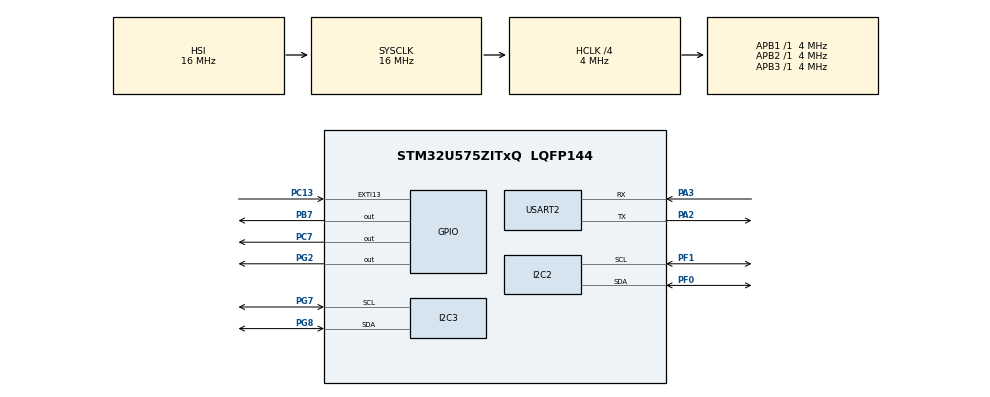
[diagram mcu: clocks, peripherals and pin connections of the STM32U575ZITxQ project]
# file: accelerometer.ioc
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CORTEX_M33_NS.userName=CORTEX_M33
I2C2.Timing=0x00303D5B
I2C3.Timing=0x00000E14
Mcu.Family=STM32U5
Mcu.Name=STM32U575ZITxQ
Mcu.Package=LQFP144
NUCLEO-U575ZI-Q.BUTTON=1
NUCLEO-U575ZI-Q.LD1=true
NUCLEO-U575ZI-Q.LD2=true
NUCLEO-U575ZI-Q.LD3=true
NUCLEO-U575ZI-Q.VCP=true
NVIC.EXTI13_IRQn=true\:0\:0\:false\:false\:true\:false\:true\:true
NVIC.PriorityGroup=NVIC_PRIORITYGROUP_3
NVIC.TIM17_IRQn=true\:7\:0\:false\:false\:true\:false\:true\:true
NVIC.TimeBase=TIM17_IRQn
NVIC.TimeBaseIP=TIM17
PA10.Signal=USART1_RX
PA13\ (JTMS/SWDIO).Mode=Trace_Asynchronous_SW
PA13\ (JTMS/SWDIO).Signal=DEBUG_JTMS-SWDIO
PA14\ (JTCK/SWCLK).Mode=Trace_Asynchronous_SW
PA14\ (JTCK/SWCLK).Signal=DEBUG_JTCK-SWCLK
PA2.Mode=Asynchronous
PA2.Signal=USART2_TX
PA3.Mode=Asynchronous
PA3.Signal=USART2_RX
PA9.Signal=USART1_TX
PB3\ (JTDO/TRACESWO).Mode=Trace_Asynchronous_SW
PB3\ (JTDO/TRACESWO).Signal=DEBUG_JTDO-SWO
PB7.Signal=GPIO_Output
PC13.Signal=GPXTI13
PC14-OSC32_IN\ (PC14).Signal=RCC_OSC32_IN
PC15-OSC32_OUT\ (PC15).Signal=RCC_OSC32_OUT
PC7.Signal=GPIO_Output
PF0.Mode=I2C
PF0.Signal=I2C2_SDA
PF1.Mode=I2C
PF1.Signal=I2C2_SCL
PG2.Signal=GPIO_Output
PG7.Mode=I2C
PG7.Signal=I2C3_SCL
PG8.Mode=I2C
PG8.Signal=I2C3_SDA
PWR.PowerMode=PWR_SMPS_SUPPLY
ProjectManager.HeapSize=0x200
ProjectManager.StackSize=0x400
ProjectManager.TargetToolchain=STM32CubeIDE
RCC.ADCFreq_Value=16000000
RCC.AHBCLKDivider=RCC_SYSCLK_DIV4
RCC.AHBFreq_Value=4000000
RCC.APB1Freq_Value=4000000
RCC.APB1TimFreq_Value=4000000
RCC.APB2Freq_Value=4000000
RCC.APB2TimFreq_Value=4000000
RCC.APB3Freq_Value=4000000
RCC.CortexFreq_Value=4000000
RCC.DACCLockSelectionVirtual=RCC_DAC1CLKSOURCE_LSI
RCC.EPOD_VALUE=4000000
RCC.HCLKFreq_Value=4000000
RCC.HSE_VALUE=16000000
RCC.HSI48_VALUE=48000000
RCC.HSI_VALUE=16000000
RCC.I2C2CLockSelection=RCC_I2C2CLKSOURCE_HSI
RCC.LSE_VALUE=32768
RCC.LSIDIV_VALUE=32000
RCC.MSIKClockRange=RCC_MSIKRANGE_1
RCC.MSI_VALUE=4000000
RCC.SYSCLKFreq_VALUE=16000000
RCC.SYSCLKSource=RCC_SYSCLKSOURCE_HSI
RCC.USBFreq_Value=48000000
RCC.VCOOutputFreq_Value=516000000
USART2.VirtualMode-Asynchronous=VM_ASYNC
VP_ICACHE_VS_ENABLE_ICACHE_MEMORY.Mode=Memoryregions
VP_ICACHE_VS_ICACHE.Mode=DirectMappedCache
VP_LPBAMQUEUE_VS_QUEUE.Mode=QUEUEMODE
VP_LPBAM_VS_SIG1.Mode=SmartRun
VP_LPBAM_VS_SIG4.Mode=LPDMA1
VP_MEMORYMAP_VS_MEMORYMAP.Mode=CurAppReg
VP_NUCLEO-U575ZI-Q_VS_BSP_COMMON.Mode=COMMON
VP_PWR_VS_DBSignals.Mode=DisableDeadBatterySignals
VP_PWR_VS_LPOM.Mode=PowerOptimisation
VP_PWR_VS_SECSignals.Mode=Security/Privilege
VP_SYS_VS_tim17.Mode=TIM17
board=NUCLEO-U575ZI-Q

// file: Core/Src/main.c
/* USER CODE BEGIN Header */
/**
  ******************************************************************************
  * @file           : main.c
  * @brief          : Main program body
  ******************************************************************************
  * @attention
  *
  * Copyright (c) 2025 STMicroelectronics.
  * All rights reserved.
  *
  * This software is licensed under terms that can be found in the LICENSE file
  * in the root directory of this software component.
  * If no LICENSE file comes with this software, it is provided AS-IS.
  *
  ******************************************************************************
  */
/* USER CODE END Header */
#include "main.h"

/* USER CODE BEGIN Includes */
#include <stdbool.h>
#include <string.h>
#include <stdio.h>
#include "mis2dh.h"

/* USER CODE END Includes */

COM_InitTypeDef BspCOMInit;

I2C_HandleTypeDef hi2c2;
I2C_HandleTypeDef hi2c3;

UART_HandleTypeDef huart2;

/* USER CODE BEGIN PV */
extern I2C_HandleTypeDef hi2c2;

/* USER CODE END PV */

void SystemClock_Config(void);
static void SystemPower_Config(void);
static void MX_GPIO_Init(void);
static void MX_ICACHE_Init(void);
static void MX_I2C2_Init(void);
static void MX_USART2_UART_Init(void);
static void MX_I2C3_Init(void);
/* USER CODE BEGIN PFP */
#define DEMCR *((volatile uint32_t*) 0xE000EDFCu)
#define ITM_TCR     (*(volatile uint32_t*)0xE0000E80)
#define ITM_TER     (*(volatile uint32_t*)0xE0000E00)

void Enable_ITM_Trace(void) {
    DEMCR |= (1 << 24);    // TRCENA: enable trace and debug
    ITM_TCR |= 1;          // ITM enable
    ITM_TER |= 1;          // Stimulus port 0 enable
}

/* USER CODE END PFP */

/* USER CODE BEGIN 0 */

int _write(int file, char *ptr, int len)
{
  for (int i = 0; i < len; i++)
  {
    ITM_SendChar((uint32_t)*ptr++);
  }
  return len;
}

/* Debug Exception and Monitor Control Register base address */
/* ITM register addresses */
#define ITM_STIMULUS_PORT0 *((volatile uint32_t*) 0xE0000000u)
#define ITM_TRACE_EN *((volatile uint32_t*) 0xE0000E00u)
/* Send a char through ITM */

/* USER CODE END 0 */

int main(void)
{

  /* MCU Configuration--------------------------------------------------------*/

  /* Reset of all peripherals, Initializes the Flash interface and the Systick. */
  HAL_Init();

  /* Configure the System Power */
  SystemPower_Config();

  /* Configure the system clock */
  SystemClock_Config();

  /* Initialize all configured peripherals */
  MX_GPIO_Init();
  MX_ICACHE_Init();
  MX_I2C2_Init();
  MX_USART2_UART_Init();
  MX_I2C3_Init();
  /* USER CODE BEGIN 2 */

  Enable_ITM_Trace();
//
//  // I2C Scan: prüft, welche Geräte auf dem Bus antworten
//  for (uint8_t addr = 1; addr < 127; addr++) {
//      if (HAL_I2C_IsDeviceReady(&hi2c2, addr << 1, 3, 100) == HAL_OK) {
//          printf("I2C-Gerät gefunden bei Adresse 0x%02X\n", addr);
//      }
//  }

  uint8_t sensor_id = 0;
  int16_t accel_x = 0, accel_y = 0, accel_z = 0;
  HAL_StatusTypeDef status;
  // --- Test 1: Sensor-ID lesen ---
  // Übergebe den I2C2-Handle an die Funktion
  status = MIS2DH_ReadID(&hi2c3, &sensor_id);
  if (status == HAL_OK) {
      if (sensor_id == MIS2DH_WHO_AM_I_VALUE) {
          // Kommunikation erfolgreich, Sensor gefunden!
          // Hier könntest du z.B. eine LED blinken lassen (wenn auf deinem Board vorhanden)
          // Beispiel für Nucleo-Boards (LD2 auf PA5):
          // HAL_GPIO_WritePin(LD2_GPIO_Port, LD2_Pin, GPIO_PIN_SET);
          // HAL_Delay(500);
          // HAL_GPIO_WritePin(LD2_GPIO_Port, LD2_Pin, GPIO_PIN_RESET);
          // Oder eine Debug-Nachricht (siehe unten für printf)
           printf("Sensor ID OK: 0x%X\r\n", sensor_id);
      } else {
          // Sensor-ID falsch, Kommunikation schlägt fehl oder falscher Sensor
           printf("Falsche Sensor ID: 0x%X (Erwartet 0x%X)\r\n", sensor_id, MIS2DH_WHO_AM_I_VALUE);
      }
  } else {
      // Fehler beim Lesen der Sensor-ID
      printf("Fehler beim Lesen der Sensor ID, HAL_Status: %d\r\n", status);
  }

  // --- Sensor initialisieren (z.B. Data Rate, Achsen aktivieren) ---
  // Übergebe den I2C2-Handle
  status = MIS2DH_Init(&hi2c3);
  if (status == HAL_OK) {
       printf("Sensor initialisiert.\r\n");
  } else {
       printf("Fehler bei der Sensor-Initialisierung, HAL_Status: %d\r\n", status);
  }

  /* USER CODE END 2 */

  /* Initialize leds */
  BSP_LED_Init(LED_GREEN);
  BSP_LED_Init(LED_BLUE);
  BSP_LED_Init(LED_RED);

  /* Initialize USER push-button, will be used to trigger an interrupt each time it's pressed.*/
  BSP_PB_Init(BUTTON_USER, BUTTON_MODE_EXTI);

  /* Initialize COM1 port (115200, 8 bits (7-bit data + 1 stop bit), no parity */
  BspCOMInit.BaudRate   = 115200;
  BspCOMInit.WordLength = COM_WORDLENGTH_8B;
  BspCOMInit.StopBits   = COM_STOPBITS_1;
  BspCOMInit.Parity     = COM_PARITY_NONE;
  BspCOMInit.HwFlowCtl  = COM_HWCONTROL_NONE;
  if (BSP_COM_Init(COM1, &BspCOMInit) != BSP_ERROR_NONE)
  {
    Error_Handler();
  }

  /* Infinite loop */
  while (1)
  {

    /* USER CODE BEGIN 3 */
	    // --- Test 2: Beschleunigungsdaten lesen ---
	    // Übergebe den I2C2-Handle
	    status = MIS2DH_ReadXYZ(&hi2c3, &accel_x, &accel_y, &accel_z);
	    if (status == HAL_OK) {
	        // Daten erfolgreich gelesen
	        // Diese Werte (accel_x, accel_y, accel_z) kannst du nun im Debugger
	        // im "Variables" Fenster beobachten.
	        // Wenn du den Sensor bewegst, sollten sich diese Werte ändern.
	        // Wenn du printf eingerichtet hast (siehe unten), kannst du die Werte auch im Terminal sehen:
	         printf("X: %d, Y: %d, Z: %d\r\n", accel_x, accel_y, accel_z);

	    } else {
	        // Fehler beim Lesen der Beschleunigungsdaten
	        printf("Fehler beim Lesen der XYZ-Daten, HAL_Status: %d\r\n", status);
	        BSP_LED_On(LED_RED);
	    }

	    HAL_Delay(100); // Warte 100 ms vor der nächsten Messung
	  }

  /* USER CODE END 3 */
}

void SystemClock_Config(void)
{
  RCC_OscInitTypeDef RCC_OscInitStruct = {0};
  RCC_ClkInitTypeDef RCC_ClkInitStruct = {0};

  /** Configure the main internal regulator output voltage
  */
  if (HAL_PWREx_ControlVoltageScaling(PWR_REGULATOR_VOLTAGE_SCALE4) != HAL_OK)
  {
    Error_Handler();
  }

  /** Initializes the CPU, AHB and APB buses clocks
  */
  RCC_OscInitStruct.OscillatorType = RCC_OSCILLATORTYPE_HSI;
  RCC_OscInitStruct.HSIState = RCC_HSI_ON;
  RCC_OscInitStruct.HSICalibrationValue = RCC_HSICALIBRATION_DEFAULT;
  RCC_OscInitStruct.PLL.PLLState = RCC_PLL_NONE;
  if (HAL_RCC_OscConfig(&RCC_OscInitStruct) != HAL_OK)
  {
    Error_Handler();
  }

  /** Initializes the CPU, AHB and APB buses clocks
  */
  RCC_ClkInitStruct.ClockType = RCC_CLOCKTYPE_HCLK|RCC_CLOCKTYPE_SYSCLK
                              |RCC_CLOCKTYPE_PCLK1|RCC_CLOCKTYPE_PCLK2
                              |RCC_CLOCKTYPE_PCLK3;
  RCC_ClkInitStruct.SYSCLKSource = RCC_SYSCLKSOURCE_HSI;
  RCC_ClkInitStruct.AHBCLKDivider = RCC_SYSCLK_DIV4;
  RCC_ClkInitStruct.APB1CLKDivider = RCC_HCLK_DIV1;
  RCC_ClkInitStruct.APB2CLKDivider = RCC_HCLK_DIV1;
  RCC_ClkInitStruct.APB3CLKDivider = RCC_HCLK_DIV1;

  if (HAL_RCC_ClockConfig(&RCC_ClkInitStruct, FLASH_LATENCY_0) != HAL_OK)
  {
    Error_Handler();
  }
}

/**
  * @brief Power Configuration
  * @retval None
  */
static void SystemPower_Config(void)
{
  HAL_PWREx_EnableVddIO2();

  /*
   * Disable the internal Pull-Up in Dead Battery pins of UCPD peripheral
   */
  HAL_PWREx_DisableUCPDDeadBattery();

  /*
   * Switch to SMPS regulator instead of LDO
   */
  if (HAL_PWREx_ConfigSupply(PWR_SMPS_SUPPLY) != HAL_OK)
  {
    Error_Handler();
  }
}

static void MX_I2C2_Init(void)
{

  hi2c2.Instance = I2C2;
  hi2c2.Init.Timing = 0x00303D5B;
  hi2c2.Init.OwnAddress1 = 0;
  hi2c2.Init.AddressingMode = I2C_ADDRESSINGMODE_7BIT;
  hi2c2.Init.DualAddressMode = I2C_DUALADDRESS_DISABLE;
  hi2c2.Init.OwnAddress2 = 0;
  hi2c2.Init.OwnAddress2Masks = I2C_OA2_NOMASK;
  hi2c2.Init.GeneralCallMode = I2C_GENERALCALL_DISABLE;
  hi2c2.Init.NoStretchMode = I2C_NOSTRETCH_DISABLE;
  if (HAL_I2C_Init(&hi2c2) != HAL_OK)
  {
    Error_Handler();
  }

  /** Configure Analogue filter
  */
  if (HAL_I2CEx_ConfigAnalogFilter(&hi2c2, I2C_ANALOGFILTER_ENABLE) != HAL_OK)
  {
    Error_Handler();
  }

  /** Configure Digital filter
  */
  if (HAL_I2CEx_ConfigDigitalFilter(&hi2c2, 0) != HAL_OK)
  {
    Error_Handler();
  }

}

static void MX_I2C3_Init(void)
{

  hi2c3.Instance = I2C3;
  hi2c3.Init.Timing = 0x00000E14;
  hi2c3.Init.OwnAddress1 = 0;
  hi2c3.Init.AddressingMode = I2C_ADDRESSINGMODE_7BIT;
  hi2c3.Init.DualAddressMode = I2C_DUALADDRESS_DISABLE;
  hi2c3.Init.OwnAddress2 = 0;
  hi2c3.Init.OwnAddress2Masks = I2C_OA2_NOMASK;
  hi2c3.Init.GeneralCallMode = I2C_GENERALCALL_DISABLE;
  hi2c3.Init.NoStretchMode = I2C_NOSTRETCH_DISABLE;
  if (HAL_I2C_Init(&hi2c3) != HAL_OK)
  {
    Error_Handler();
  }

  /** Configure Analogue filter
  */
  if (HAL_I2CEx_ConfigAnalogFilter(&hi2c3, I2C_ANALOGFILTER_ENABLE) != HAL_OK)
  {
    Error_Handler();
  }

  /** Configure Digital filter
  */
  if (HAL_I2CEx_ConfigDigitalFilter(&hi2c3, 0) != HAL_OK)
  {
    Error_Handler();
  }

}

static void MX_ICACHE_Init(void)
{

  /** Enable instruction cache in 1-way (direct mapped cache)
  */
  if (HAL_ICACHE_ConfigAssociativityMode(ICACHE_1WAY) != HAL_OK)
  {
    Error_Handler();
  }
  if (HAL_ICACHE_Enable() != HAL_OK)
  {
    Error_Handler();
  }

}

static void MX_USART2_UART_Init(void)
{

  huart2.Instance = USART2;
  huart2.Init.BaudRate = 115200;
  huart2.Init.WordLength = UART_WORDLENGTH_8B;
  huart2.Init.StopBits = UART_STOPBITS_1;
  huart2.Init.Parity = UART_PARITY_NONE;
  huart2.Init.Mode = UART_MODE_TX_RX;
  huart2.Init.HwFlowCtl = UART_HWCONTROL_NONE;
  huart2.Init.OverSampling = UART_OVERSAMPLING_16;
  huart2.Init.OneBitSampling = UART_ONE_BIT_SAMPLE_DISABLE;
  huart2.Init.ClockPrescaler = UART_PRESCALER_DIV1;
  huart2.AdvancedInit.AdvFeatureInit = UART_ADVFEATURE_NO_INIT;
  if (HAL_UART_Init(&huart2) != HAL_OK)
  {
    Error_Handler();
  }
  if (HAL_UARTEx_SetTxFifoThreshold(&huart2, UART_TXFIFO_THRESHOLD_1_8) != HAL_OK)
  {
    Error_Handler();
  }
  if (HAL_UARTEx_SetRxFifoThreshold(&huart2, UART_RXFIFO_THRESHOLD_1_8) != HAL_OK)
  {
    Error_Handler();
  }
  if (HAL_UARTEx_DisableFifoMode(&huart2) != HAL_OK)
  {
    Error_Handler();
  }

}

static void MX_GPIO_Init(void)
{

  /* GPIO Ports Clock Enable */
  __HAL_RCC_GPIOC_CLK_ENABLE();
  __HAL_RCC_GPIOF_CLK_ENABLE();
  __HAL_RCC_GPIOA_CLK_ENABLE();
  __HAL_RCC_GPIOG_CLK_ENABLE();
  __HAL_RCC_GPIOB_CLK_ENABLE();

}

void HAL_TIM_PeriodElapsedCallback(TIM_HandleTypeDef *htim)
{
  if (htim->Instance == TIM17)
  {
    HAL_IncTick();
  }
}

void Error_Handler(void)
{
  __disable_irq();
  while (1)
  {
  }
}
